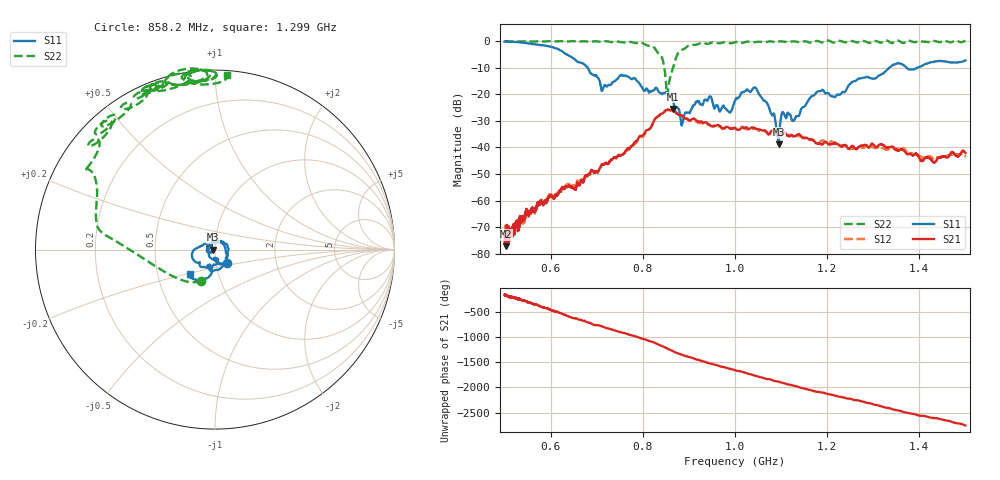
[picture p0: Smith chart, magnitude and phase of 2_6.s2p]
!Agilent Technologies,E8364B,US42250235,A.06.04.32
!Agilent E8364B: A.06.04.32
!Date: Thursday, October 01, 2020 16:07:53
!Correction: S11(Full 2 Port(1,2)) S21(Full 2 Port(1,2)) S12(Full 2 Port(1,2)) S22(Full 2 Port(1,2))
!S2P File: Measurements: S11, S21, S12, S22:
# Hz S  dB  R 50
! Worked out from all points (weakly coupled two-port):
!   2650 points, 500 MHz to 1.5 GHz, reference 50 ohm
!   highest |S21| = -25.49 dB at 865.8 MHz (marker M1); lowest = -77.1 dB at 502.3 MHz (marker M2)
!   lowest |S11| = -38.8 dB at 1.095 GHz (marker M3), VSWR 1.02, Z = 48.9 - j0.122 ohm
!   |S11| at or under -10 dB: 680.2 MHz to 1.335 GHz (655 MHz wide, 65 % of centre); 1.372 GHz to 1.397 GHz (24.6 MHz wide, 1.78 % of centre)
!   |S22| runs from -20.3 to 0.2 dB; largest |S21 - S12| = 0.0047
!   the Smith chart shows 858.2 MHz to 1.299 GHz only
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5e8  -0.23 -175.1  -73.17 -165.4  -75.99 -170.1  -0.03 143.4
5.02265e8  -0.25 -176.2  -77.06 169.6  -72.33 -160.5  -0.05 144.3
6.011703e8  -2.20 119.4  -58.13 -112.2  -57.54 -105.3  -0.12 130.4
6.668554e8  -8.19 73.2  -52.05 51.1  -51.64 58.0  -0.12 124.8
7.12533e8  -18.30 73.7  -46.30 -78.8  -46.44 -79.2  -0.32 113.3
7.555681e8  -13.10 70.2  -42.61 162.1  -42.52 158.4  -0.50 110.3
7.955832e8  -16.78 22.9  -35.67 50.8  -36.02 47.3  -0.70 98.1
8.337108e8  -18.90 -3.2  -28.18 -72.1  -28.37 -74.9  -4.67 54.6
8.533409e8  -19.12 -31.8  -25.78 -153.8  -25.93 -155.6  -20.27 -52.5
8.657984e8  -22.49 -76.1  -25.49 153.4  -25.76 151.7  -10.02 -158.4
8.85051e8  -31.54 -150.4  -28.03 82.7  -28.25 80.7  -3.33 166.2
9.04681e8  -25.78 67.2  -29.67 31.7  -29.71 27.5  -1.38 148.6
1.000189e9  -22.52 -81.3  -32.65 137.9  -32.81 136.9  -0.45 120.3
1.044356e9  -17.55 -166.1  -32.89 27.0  -32.88 23.8  -0.39 112.8
1.094564e9  -38.78 -173.8  -34.35 -86.9  -35.23 -95.4  -0.19 110.2
1.103624e9  -26.70 -174.6  -34.57 -112.8  -35.28 -115.8  -0.21 114.7
1.127784e9  -29.79 125.5  -35.68 -169.9  -35.96 -175.4  -0.15 110.5
1.166667e9  -20.71 -50.5  -36.98 97.2  -37.21 91.4  -0.55 100.8
1.321442e9  -12.20 -135.1  -39.08 130.7  -40.28 117.4  -0.26 82.2
1.333522e9  -10.26 -139.1  -40.07 108.7  -40.63 96.0  -0.14 97.8
1.37165e9  -9.90 178.4  -42.16 17.6  -41.51 -4.4  -0.23 74.5
1.5e9  -7.31 143.8  -42.11 123.6  -43.35 101.9  0.07 71.8
